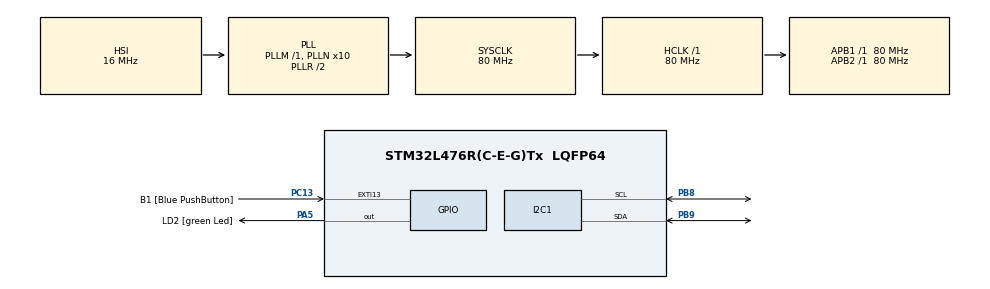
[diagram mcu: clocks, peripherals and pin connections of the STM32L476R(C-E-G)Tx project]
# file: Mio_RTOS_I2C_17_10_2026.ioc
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FREERTOS.Tasks01=defaultTask,24,128,StartDefaultTask,Default,NULL,Dynamic,NULL,NULL;Hace_algo_con_L,8,128,StartTask02,Default,NULL,Dynamic,NULL,NULL
FREERTOS.configUSE_NEWLIB_REENTRANT=1
I2C1.Timing=0x10D19CE4
Mcu.Family=STM32L4
Mcu.Name=STM32L476R(C-E-G)Tx
Mcu.Package=LQFP64
NVIC.PriorityGroup=NVIC_PRIORITYGROUP_4
NVIC.TIM6_DAC_IRQn=true\:15\:0\:false\:false\:true\:false\:false\:true\:true
NVIC.TimeBase=TIM6_DAC_IRQn
NVIC.TimeBaseIP=TIM6
PA13\ (JTMS-SWDIO).GPIO_Label=TMS
PA13\ (JTMS-SWDIO).Signal=SYS_JTMS-SWDIO
PA14\ (JTCK-SWCLK).GPIO_Label=TCK
PA14\ (JTCK-SWCLK).Signal=SYS_JTCK-SWCLK
PA2.GPIO_Label=USART_TX
PA2.GPIO_Mode=GPIO_MODE_AF_PP
PA2.GPIO_PuPd=GPIO_NOPULL
PA2.GPIO_Speed=GPIO_SPEED_FREQ_VERY_HIGH
PA2.Signal=USART2_TX
PA3.GPIO_Label=USART_RX
PA3.GPIO_Mode=GPIO_MODE_AF_PP
PA3.GPIO_PuPd=GPIO_NOPULL
PA3.GPIO_Speed=GPIO_SPEED_FREQ_VERY_HIGH
PA3.Signal=USART2_RX
PA5.GPIO_Label=LD2 [green Led]
PA5.GPIO_ModeDefaultOutputPP=GPIO_MODE_OUTPUT_PP
PA5.GPIO_PuPd=GPIO_NOPULL
PA5.GPIO_Speed=GPIO_SPEED_FREQ_LOW
PA5.Signal=GPIO_Output
PB3\ (JTDO-TRACESWO).GPIO_Label=SWO
PB3\ (JTDO-TRACESWO).Signal=SYS_JTDO-SWO
PB8.Mode=I2C
PB8.Signal=I2C1_SCL
PB9.Mode=I2C
PB9.Signal=I2C1_SDA
PC13.GPIO_Label=B1 [Blue PushButton]
PC13.GPIO_ModeDefaultEXTI=GPIO_MODE_IT_FALLING
PC13.GPIO_PuPd=GPIO_NOPULL
PC13.Signal=GPXTI13
PC14-OSC32_IN\ (PC14).Signal=RCC_OSC32_IN
PC15-OSC32_OUT\ (PC15).Signal=RCC_OSC32_OUT
PH0-OSC_IN\ (PH0).Signal=RCC_OSC_IN
PH1-OSC_OUT\ (PH1).Signal=RCC_OSC_OUT
ProjectManager.HeapSize=0x200
ProjectManager.StackSize=0x400
ProjectManager.TargetToolchain=STM32CubeIDE
RCC.ADCFreq_Value=64000000
RCC.AHBFreq_Value=80000000
RCC.APB1Freq_Value=80000000
RCC.APB1TimFreq_Value=80000000
RCC.APB2Freq_Value=80000000
RCC.APB2TimFreq_Value=80000000
RCC.CortexFreq_Value=80000000
RCC.HCLKFreq_Value=80000000
RCC.HSE_VALUE=8000000
RCC.HSI_VALUE=16000000
RCC.LSE_VALUE=32768
RCC.MSI_VALUE=4000000
RCC.PLLN=10
RCC.PLLSourceVirtual=RCC_PLLSOURCE_HSI
RCC.PREFETCH_ENABLE=1
RCC.SYSCLKFreq_VALUE=80000000
RCC.SYSCLKSource=RCC_SYSCLKSOURCE_PLLCLK
RCC.USBFreq_Value=64000000
RCC.VCOOutputFreq_Value=160000000
VP_FREERTOS_VS_CMSIS_V2.Mode=CMSIS_V2
VP_SYS_VS_tim6.Mode=TIM6
board=NUCLEO-L476RG

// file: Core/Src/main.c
/* USER CODE BEGIN Header */
/**
  ******************************************************************************
  * @file           : main.c
  * @brief          : Main program body
  ******************************************************************************
  * @attention
  *
  * Copyright (c) 2026 STMicroelectronics.
  * All rights reserved.
  *
  * This software is licensed under terms that can be found in the LICENSE file
  * in the root directory of this software component.
  * If no LICENSE file comes with this software, it is provided AS-IS.
  *
  ******************************************************************************
  */
/* USER CODE END Header */
#include "main.h"
#include "cmsis_os.h"

I2C_HandleTypeDef hi2c1;

/* Definitions for defaultTask */
osThreadId_t defaultTaskHandle;
const osThreadAttr_t defaultTask_attributes = {
  .name = "defaultTask",
  .stack_size = 128 * 4,
  .priority = (osPriority_t) osPriorityNormal,
};
/* Definitions for Hace_algo_con_L */
osThreadId_t Hace_algo_con_LHandle;
const osThreadAttr_t Hace_algo_con_L_attributes = {
  .name = "Hace_algo_con_L",
  .stack_size = 128 * 4,
  .priority = (osPriority_t) osPriorityLow,
};
/* USER CODE BEGIN PV */
HAL_StatusTypeDef dummy;
HAL_StatusTypeDef dummy2;
HAL_StatusTypeDef wr;
HAL_StatusTypeDef ovf;
HAL_StatusTypeDef rd;

uint8_t leido=0x00;
uint8_t leido_2=0x00;
uint8_t fifo[6];
/* USER CODE END PV */

void SystemClock_Config(void);
static void MX_GPIO_Init(void);
static void MX_I2C1_Init(void);
void StartDefaultTask(void *argument);
void StartTask02(void *argument);

/* USER CODE BEGIN PFP */
HAL_StatusTypeDef Escribir(uint16_t MemAddress, uint8_t pData);
HAL_StatusTypeDef Leer (uint16_t MemAddress, uint8_t *valor);
void Inicializar();
HAL_StatusTypeDef Leer_FIFO (uint16_t MemAddress, uint8_t *valor);
/* USER CODE END PFP */

int main(void)
{

  /* MCU Configuration--------------------------------------------------------*/

  /* Reset of all peripherals, Initializes the Flash interface and the Systick. */
  HAL_Init();

  /* Configure the system clock */
  SystemClock_Config();

  /* Initialize all configured peripherals */
  MX_GPIO_Init();
  MX_I2C1_Init();

  /* Init scheduler */
  osKernelInitialize();

  /* Create the thread(s) */
  /* creation of defaultTask */
  defaultTaskHandle = osThreadNew(StartDefaultTask, NULL, &defaultTask_attributes);

  /* creation of Hace_algo_con_L */
  Hace_algo_con_LHandle = osThreadNew(StartTask02, NULL, &Hace_algo_con_L_attributes);

  /* Start scheduler */
  osKernelStart();

  /* We should never get here as control is now taken by the scheduler */

  /* Infinite loop */
  while (1)
  {

  }
}

void SystemClock_Config(void)
{
  RCC_OscInitTypeDef RCC_OscInitStruct = {0};
  RCC_ClkInitTypeDef RCC_ClkInitStruct = {0};

  /** Configure the main internal regulator output voltage
  */
  if (HAL_PWREx_ControlVoltageScaling(PWR_REGULATOR_VOLTAGE_SCALE1) != HAL_OK)
  {
    Error_Handler();
  }

  /** Initializes the RCC Oscillators according to the specified parameters
  * in the RCC_OscInitTypeDef structure.
  */
  RCC_OscInitStruct.OscillatorType = RCC_OSCILLATORTYPE_HSI;
  RCC_OscInitStruct.HSIState = RCC_HSI_ON;
  RCC_OscInitStruct.HSICalibrationValue = RCC_HSICALIBRATION_DEFAULT;
  RCC_OscInitStruct.PLL.PLLState = RCC_PLL_ON;
  RCC_OscInitStruct.PLL.PLLSource = RCC_PLLSOURCE_HSI;
  RCC_OscInitStruct.PLL.PLLM = 1;
  RCC_OscInitStruct.PLL.PLLN = 10;
  RCC_OscInitStruct.PLL.PLLP = RCC_PLLP_DIV7;
  RCC_OscInitStruct.PLL.PLLQ = RCC_PLLQ_DIV2;
  RCC_OscInitStruct.PLL.PLLR = RCC_PLLR_DIV2;
  if (HAL_RCC_OscConfig(&RCC_OscInitStruct) != HAL_OK)
  {
    Error_Handler();
  }

  /** Initializes the CPU, AHB and APB buses clocks
  */
  RCC_ClkInitStruct.ClockType = RCC_CLOCKTYPE_HCLK|RCC_CLOCKTYPE_SYSCLK
                              |RCC_CLOCKTYPE_PCLK1|RCC_CLOCKTYPE_PCLK2;
  RCC_ClkInitStruct.SYSCLKSource = RCC_SYSCLKSOURCE_PLLCLK;
  RCC_ClkInitStruct.AHBCLKDivider = RCC_SYSCLK_DIV1;
  RCC_ClkInitStruct.APB1CLKDivider = RCC_HCLK_DIV1;
  RCC_ClkInitStruct.APB2CLKDivider = RCC_HCLK_DIV1;

  if (HAL_RCC_ClockConfig(&RCC_ClkInitStruct, FLASH_LATENCY_4) != HAL_OK)
  {
    Error_Handler();
  }
}

static void MX_I2C1_Init(void)
{

  hi2c1.Instance = I2C1;
  hi2c1.Init.Timing = 0x10D19CE4;
  hi2c1.Init.OwnAddress1 = 0;
  hi2c1.Init.AddressingMode = I2C_ADDRESSINGMODE_7BIT;
  hi2c1.Init.DualAddressMode = I2C_DUALADDRESS_DISABLE;
  hi2c1.Init.OwnAddress2 = 0;
  hi2c1.Init.OwnAddress2Masks = I2C_OA2_NOMASK;
  hi2c1.Init.GeneralCallMode = I2C_GENERALCALL_DISABLE;
  hi2c1.Init.NoStretchMode = I2C_NOSTRETCH_DISABLE;
  if (HAL_I2C_Init(&hi2c1) != HAL_OK)
  {
    Error_Handler();
  }

  /** Configure Analogue filter
  */
  if (HAL_I2CEx_ConfigAnalogFilter(&hi2c1, I2C_ANALOGFILTER_ENABLE) != HAL_OK)
  {
    Error_Handler();
  }

  /** Configure Digital filter
  */
  if (HAL_I2CEx_ConfigDigitalFilter(&hi2c1, 0) != HAL_OK)
  {
    Error_Handler();
  }

}

static void MX_GPIO_Init(void)
{
  GPIO_InitTypeDef GPIO_InitStruct = {0};

  /* GPIO Ports Clock Enable */
  __HAL_RCC_GPIOC_CLK_ENABLE();
  __HAL_RCC_GPIOH_CLK_ENABLE();
  __HAL_RCC_GPIOA_CLK_ENABLE();
  __HAL_RCC_GPIOB_CLK_ENABLE();

  /*Configure GPIO pin Output Level */
  HAL_GPIO_WritePin(LD2_GPIO_Port, LD2_Pin, GPIO_PIN_RESET);

  /*Configure GPIO pin : B1_Pin */
  GPIO_InitStruct.Pin = B1_Pin;
  GPIO_InitStruct.Mode = GPIO_MODE_IT_FALLING;
  GPIO_InitStruct.Pull = GPIO_NOPULL;
  HAL_GPIO_Init(B1_GPIO_Port, &GPIO_InitStruct);

  /*Configure GPIO pins : USART_TX_Pin USART_RX_Pin */
  GPIO_InitStruct.Pin = USART_TX_Pin|USART_RX_Pin;
  GPIO_InitStruct.Mode = GPIO_MODE_AF_PP;
  GPIO_InitStruct.Pull = GPIO_NOPULL;
  GPIO_InitStruct.Speed = GPIO_SPEED_FREQ_VERY_HIGH;
  GPIO_InitStruct.Alternate = GPIO_AF7_USART2;
  HAL_GPIO_Init(GPIOA, &GPIO_InitStruct);

  /*Configure GPIO pin : LD2_Pin */
  GPIO_InitStruct.Pin = LD2_Pin;
  GPIO_InitStruct.Mode = GPIO_MODE_OUTPUT_PP;
  GPIO_InitStruct.Pull = GPIO_NOPULL;
  GPIO_InitStruct.Speed = GPIO_SPEED_FREQ_LOW;
  HAL_GPIO_Init(LD2_GPIO_Port, &GPIO_InitStruct);

}

void StartDefaultTask(void *argument)
{
  /* USER CODE BEGIN 5 */
  /* Infinite loop */

  for(;;)
  {

    osDelay(300);
  }
  /* USER CODE END 5 */
}

void StartTask02(void *argument)
{
  /* USER CODE BEGIN StartTask02 */

	Inicializar();
	Leer((uint16_t)0x09,&leido_2);

  /* Infinite loop */
  for(;;)
  {

	  dummy=Leer_FIFO((uint16_t)0x07,fifo);

	  Leer((uint16_t)0x04, &wr);//FIFO_WR_PTR en 0 por ercomendacion de estado conocido
	  	Leer((uint16_t)0x05, &ovf);//OVF_COUNTER
	  	Leer((uint16_t)0x06, &rd);

    osDelay(1);
  }
  /* USER CODE END StartTask02 */
}

void HAL_TIM_PeriodElapsedCallback(TIM_HandleTypeDef *htim)
{
  if (htim->Instance == TIM6)
  {
    HAL_IncTick();
  }
}

void Error_Handler(void)
{
  __disable_irq();
  while (1)
  {
  }
}
